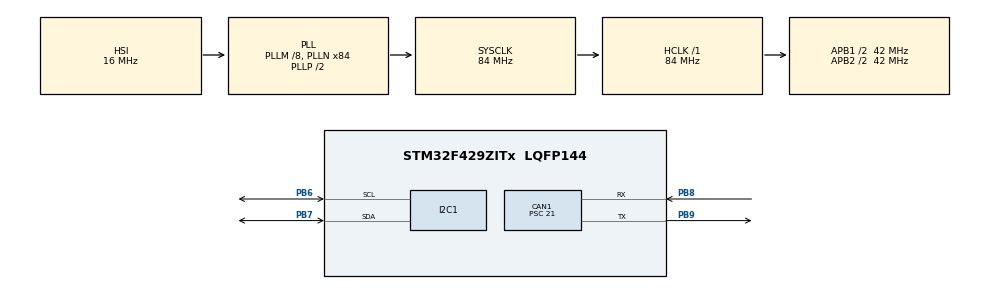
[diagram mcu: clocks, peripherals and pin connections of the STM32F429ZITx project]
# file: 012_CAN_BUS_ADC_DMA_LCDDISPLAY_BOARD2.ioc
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CAN1.BS1=CAN_BS1_13TQ
CAN1.BS2=CAN_BS2_2TQ
CAN1.CalculateBaudRate=125000
CAN1.CalculateTimeBit=8000
CAN1.CalculateTimeQuantum=500.0
CAN1.Prescaler=21
Mcu.Family=STM32F4
Mcu.Name=STM32F429ZITx
Mcu.Package=LQFP144
NVIC.CAN1_RX0_IRQn=true\:0\:0\:false\:false\:true\:true\:true\:true
NVIC.PriorityGroup=NVIC_PRIORITYGROUP_0
PB6.Mode=I2C
PB6.Signal=I2C1_SCL
PB7.Mode=I2C
PB7.Signal=I2C1_SDA
PB8.Mode=CAN_Activate
PB8.Signal=CAN1_RX
PB9.Mode=CAN_Activate
PB9.Signal=CAN1_TX
PH0/OSC_IN.Mode=HSE-External-Oscillator
PH0/OSC_IN.Signal=RCC_OSC_IN
PH1/OSC_OUT.Mode=HSE-External-Oscillator
PH1/OSC_OUT.Signal=RCC_OSC_OUT
ProjectManager.HeapSize=0x200
ProjectManager.StackSize=0x400
ProjectManager.TargetToolchain=STM32CubeIDE
RCC.48MHZClocksFreq_Value=24000000
RCC.AHBFreq_Value=84000000
RCC.APB1CLKDivider=RCC_HCLK_DIV2
RCC.APB1Freq_Value=42000000
RCC.APB1TimFreq_Value=84000000
RCC.APB2CLKDivider=RCC_HCLK_DIV2
RCC.APB2Freq_Value=42000000
RCC.APB2TimFreq_Value=84000000
RCC.CortexFreq_Value=84000000
RCC.HCLKFreq_Value=84000000
RCC.HSE_VALUE=8000000
RCC.HSI_VALUE=16000000
RCC.LSE_VALUE=32768
RCC.PLLM=8
RCC.PLLN=84
RCC.PLLQ=7
RCC.SYSCLKFreq_VALUE=84000000
RCC.SYSCLKSource=RCC_SYSCLKSOURCE_PLLCLK
RCC.VCOOutputFreq_Value=168000000
board=STM32F429I-DISC1

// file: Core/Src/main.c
/* USER CODE BEGIN Header */
/**
  ******************************************************************************
  * @file           : main.c
  * @brief          : Main program body
  ******************************************************************************
  * @attention
  *
  * Copyright (c) 2023 STMicroelectronics.
  * All rights reserved.
  *
  * This software is licensed under terms that can be found in the LICENSE file
  * in the root directory of this software component.
  * If no LICENSE file comes with this software, it is provided AS-IS.
  *
  ******************************************************************************
  */
/* USER CODE END Header */
#include "main.h"

/* USER CODE BEGIN Includes */
#include "i2c-lcd.h"
/* USER CODE END Includes */

CAN_HandleTypeDef hcan1;

I2C_HandleTypeDef hi2c1;

/* USER CODE BEGIN PV */
CAN_RxHeaderTypeDef pHeader;
CAN_TxHeaderTypeDef pTXHeader;
CAN_FilterTypeDef sFilterconfig;
uint8_t radc_value;
/* USER CODE END PV */

void SystemClock_Config(void);
static void MX_GPIO_Init(void);
static void MX_CAN1_Init(void);
static void MX_I2C1_Init(void);

int main(void)
{

  /* MCU Configuration--------------------------------------------------------*/

  /* Reset of all peripherals, Initializes the Flash interface and the Systick. */
  HAL_Init();

  /* Configure the system clock */
  SystemClock_Config();

  /* Initialize all configured peripherals */
  MX_GPIO_Init();
  MX_CAN1_Init();
  MX_I2C1_Init();
  /* USER CODE BEGIN 2 */
 pTXHeader.DLC = 1;
 pTXHeader.IDE = CAN_ID_STD;
 pTXHeader.RTR = CAN_RTR_DATA;
 pTXHeader.StdId = 0x0155;

 sFilterconfig.FilterActivation = ENABLE;
 sFilterconfig.FilterBank = 0;
 sFilterconfig.FilterFIFOAssignment = CAN_FILTER_FIFO0;
 sFilterconfig.FilterIdHigh = 0x0000;
 sFilterconfig.FilterIdLow =  0x0000;
 sFilterconfig.FilterMaskIdHigh = 0x0000 ;
 sFilterconfig.FilterMaskIdLow =  0x0000;
 sFilterconfig.FilterMode = CAN_FILTERMODE_IDMASK;
 sFilterconfig.FilterScale = CAN_FILTERSCALE_16BIT;

 HAL_CAN_ConfigFilter(&hcan1, &sFilterconfig);

 lcd_init();   // INIT LCD SETTINGS
 lcd_clear();
 lcd_send_cmd(0x80);
 lcd_send_string("CAN BUS EXAMPLE");
 HAL_Delay(2000);
 HAL_CAN_Start(&hcan1);  // START CAN COMMUNICATION

 HAL_CAN_ActivateNotification(&hcan1, CAN_IT_RX_FIFO0_MSG_PENDING); // START RX INTERRUPT->Config in it.c
  /* USER CODE END 2 */

  /* Infinite loop */
  while (1)
  {

  }
}

void SystemClock_Config(void)
{
  RCC_OscInitTypeDef RCC_OscInitStruct = {0};
  RCC_ClkInitTypeDef RCC_ClkInitStruct = {0};

  /** Configure the main internal regulator output voltage
  */
  __HAL_RCC_PWR_CLK_ENABLE();
  __HAL_PWR_VOLTAGESCALING_CONFIG(PWR_REGULATOR_VOLTAGE_SCALE3);

  /** Initializes the RCC Oscillators according to the specified parameters
  * in the RCC_OscInitTypeDef structure.
  */
  RCC_OscInitStruct.OscillatorType = RCC_OSCILLATORTYPE_HSI;
  RCC_OscInitStruct.HSIState = RCC_HSI_ON;
  RCC_OscInitStruct.HSICalibrationValue = RCC_HSICALIBRATION_DEFAULT;
  RCC_OscInitStruct.PLL.PLLState = RCC_PLL_ON;
  RCC_OscInitStruct.PLL.PLLSource = RCC_PLLSOURCE_HSI;
  RCC_OscInitStruct.PLL.PLLM = 8;
  RCC_OscInitStruct.PLL.PLLN = 84;
  RCC_OscInitStruct.PLL.PLLP = RCC_PLLP_DIV2;
  RCC_OscInitStruct.PLL.PLLQ = 7;
  if (HAL_RCC_OscConfig(&RCC_OscInitStruct) != HAL_OK)
  {
    Error_Handler();
  }

  /** Initializes the CPU, AHB and APB buses clocks
  */
  RCC_ClkInitStruct.ClockType = RCC_CLOCKTYPE_HCLK|RCC_CLOCKTYPE_SYSCLK
                              |RCC_CLOCKTYPE_PCLK1|RCC_CLOCKTYPE_PCLK2;
  RCC_ClkInitStruct.SYSCLKSource = RCC_SYSCLKSOURCE_PLLCLK;
  RCC_ClkInitStruct.AHBCLKDivider = RCC_SYSCLK_DIV1;
  RCC_ClkInitStruct.APB1CLKDivider = RCC_HCLK_DIV2;
  RCC_ClkInitStruct.APB2CLKDivider = RCC_HCLK_DIV2;

  if (HAL_RCC_ClockConfig(&RCC_ClkInitStruct, FLASH_LATENCY_2) != HAL_OK)
  {
    Error_Handler();
  }
}

static void MX_CAN1_Init(void)
{

  hcan1.Instance = CAN1;
  hcan1.Init.Prescaler = 21;
  hcan1.Init.Mode = CAN_MODE_NORMAL;
  hcan1.Init.SyncJumpWidth = CAN_SJW_1TQ;
  hcan1.Init.TimeSeg1 = CAN_BS1_13TQ;
  hcan1.Init.TimeSeg2 = CAN_BS2_2TQ;
  hcan1.Init.TimeTriggeredMode = DISABLE;
  hcan1.Init.AutoBusOff = DISABLE;
  hcan1.Init.AutoWakeUp = DISABLE;
  hcan1.Init.AutoRetransmission = DISABLE;
  hcan1.Init.ReceiveFifoLocked = DISABLE;
  hcan1.Init.TransmitFifoPriority = DISABLE;
  if (HAL_CAN_Init(&hcan1) != HAL_OK)
  {
    Error_Handler();
  }

}

static void MX_I2C1_Init(void)
{

  hi2c1.Instance = I2C1;
  hi2c1.Init.ClockSpeed = 100000;
  hi2c1.Init.DutyCycle = I2C_DUTYCYCLE_2;
  hi2c1.Init.OwnAddress1 = 0;
  hi2c1.Init.AddressingMode = I2C_ADDRESSINGMODE_7BIT;
  hi2c1.Init.DualAddressMode = I2C_DUALADDRESS_DISABLE;
  hi2c1.Init.OwnAddress2 = 0;
  hi2c1.Init.GeneralCallMode = I2C_GENERALCALL_DISABLE;
  hi2c1.Init.NoStretchMode = I2C_NOSTRETCH_DISABLE;
  if (HAL_I2C_Init(&hi2c1) != HAL_OK)
  {
    Error_Handler();
  }

  /** Configure Analogue filter
  */
  if (HAL_I2CEx_ConfigAnalogFilter(&hi2c1, I2C_ANALOGFILTER_ENABLE) != HAL_OK)
  {
    Error_Handler();
  }

  /** Configure Digital filter
  */
  if (HAL_I2CEx_ConfigDigitalFilter(&hi2c1, 0) != HAL_OK)
  {
    Error_Handler();
  }

}

static void MX_GPIO_Init(void)
{

  /* GPIO Ports Clock Enable */
  __HAL_RCC_GPIOH_CLK_ENABLE();
  __HAL_RCC_GPIOB_CLK_ENABLE();

}

void Error_Handler(void)
{
  __disable_irq();
  while (1)
  {
  }
}
